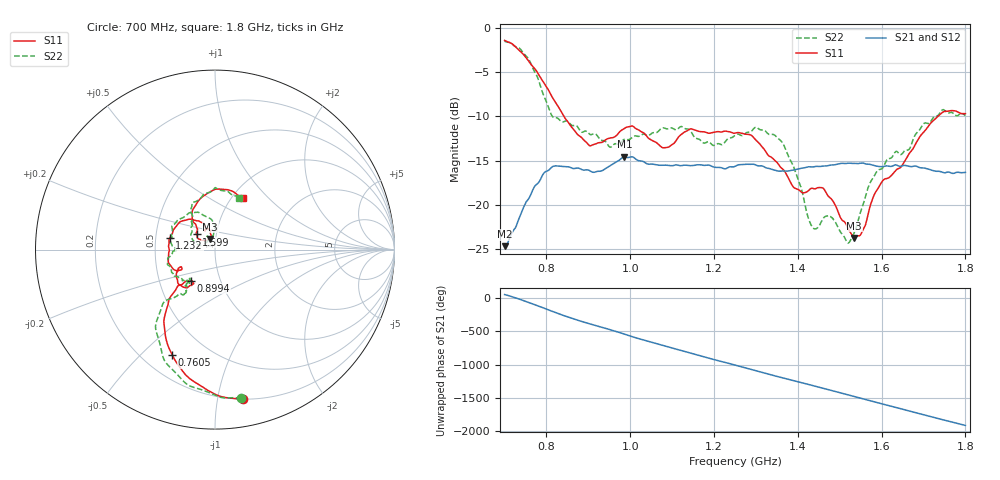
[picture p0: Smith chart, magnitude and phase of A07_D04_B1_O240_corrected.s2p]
! Created with skrf 1.9.0 (http://scikit-rf.org).
# Hz S RI R 50.0
!freq ReS11 ImS11 ReS21 ImS21 ReS12 ImS12 ReS22 ImS22
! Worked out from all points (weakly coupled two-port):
!   1601 points, 700 MHz to 1.8 GHz, reference 50 ohm
!   highest |S21| = -14.55 dB at 986 MHz (marker M1); lowest = -24.6 dB at 700.7 MHz (marker M2)
!   lowest |S11| = -23.7 dB at 1.535 GHz (marker M3), VSWR 1.14, Z = 47.1 + j5.63 ohm
!   |S11| at or under -10 dB: 841.4 MHz to 1.734 GHz (892.9 MHz wide, 69.3 % of centre)
!   |S22| runs from -24.3 to -1.5 dB; largest |S21 - S12| = 0.0034
!   S11 on the Smith chart (normalised r, x): 700 MHz: 0.20, -1.19; 760.5 MHz: 0.32, -0.62; 899.4 MHz: 0.72, -0.26; 1.232 GHz: 0.59, +0.08; 1.599 GHz: 0.80, +0.14; 1.8 GHz: 1.12, +0.72
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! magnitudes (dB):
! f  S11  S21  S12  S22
! 700 MHz  -1.4  -24.6  -24.4  -1.5
! 700.7 MHz  -1.4  -24.6  -24.3  -1.5
! 760.5 MHz  -4.0  -19.0  -18.9  -3.8
! 814.1 MHz  -7.9  -15.7  -15.7  -10.0
! 883.6 MHz  -12.4  -16.0  -15.9  -11.8
! 899.4 MHz  -13.2  -16.0  -16.1  -11.8
! 986 MHz  -11.4  -14.5  -14.6  -12.6
! 1.067 GHz  -13.1  -15.5  -15.4  -11.7
! 1.232 GHz  -11.7  -15.8  -15.8  -12.5
! 1.25 GHz  -11.9  -15.6  -15.6  -12.1
! 1.301 GHz  -12.7  -15.5  -15.5  -11.2
! 1.36 GHz  -15.8  -16.2  -16.2  -12.8
! 1.393 GHz  -18.1  -16.0  -16.0  -16.1
! 1.434 GHz  -18.1  -15.7  -15.7  -22.4
! 1.462 GHz  -18.2  -15.6  -15.6  -21.4
! 1.519 GHz  -22.5  -15.3  -15.3  -24.2
! 1.535 GHz  -23.7  -15.3  -15.3  -23.1
! 1.57 GHz  -20.5  -15.4  -15.4  -17.7
! 1.599 GHz  -17.5  -15.7  -15.6  -15.9
! 1.617 GHz  -16.9  -15.6  -15.6  -14.8
! 1.741 GHz  -9.7  -16.2  -16.2  -9.5
! 1.8 GHz  -9.7  -16.3  -16.3  -9.9
